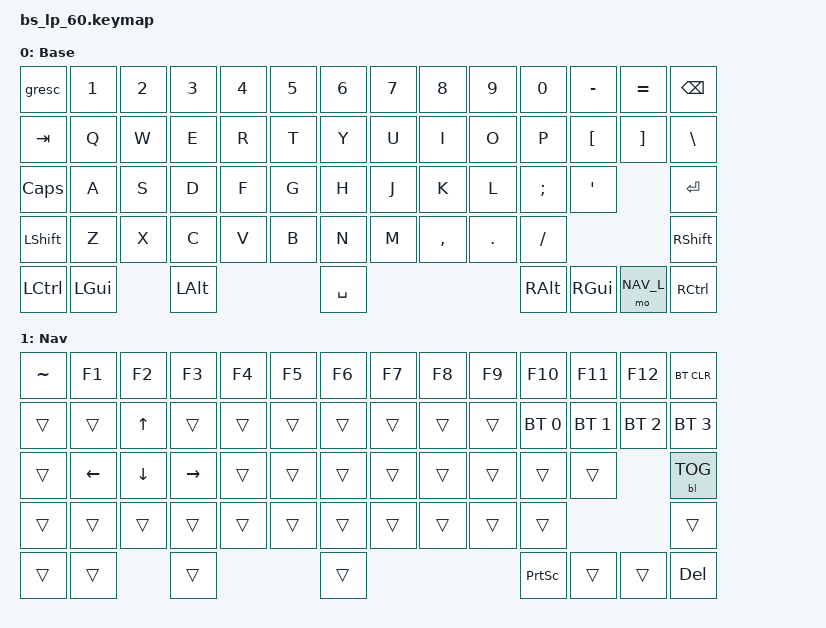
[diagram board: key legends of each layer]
/*
 * Copyright (c) 2021 Cole Smith
 *
 * SPDX-License-Identifier: MIT
 */

#include <dt-bindings/zmk/reset.h>
#include <behaviors.dtsi>
#include <dt-bindings/zmk/backlight.h>
#include <dt-bindings/zmk/bt.h>
#include <dt-bindings/zmk/keys.h>

#define BAS_L 0
#define NAV_L 1

/ {
    keymap {
        compatible = "zmk,keymap";

        default_layer {
            // ------------------------------------------------------------------------------------------
            // | ESC |  1  |  2  |  3  |  4  |  5  |  6  |  7  |  8  |  9  |  0  |  -  |  =  |   BKSP   |
            // | TAB  |  Q  |  W  |  E  |  R  |  T  |  Y  |  U  |  I  |  O  |  P  |  [  |  ]  |   "|"   |
            // | CAPS  |  A  |  S  |  D  |  F  |  G  |  H  |  J  |  K  |  L  |  ;  |  '  |     ENTER    |
            // |  SHIFT  |  Z  |  X  |  C  |  V  |  B  |  N  |  M  |  ,  |  .  |  /  |      SHIFT       |
            // |  CTL  |  WIN  |  ALT  |            SPACE              |  ALT  |  WIN  |  MO(1) |  CTL  |
            // ------------------------------------------------------------------------------------------

            label = "Base";
            bindings = <
&gresc     &kp N1    &kp N2  &kp N3    &kp N4  &kp N5  &kp N6     &kp N7  &kp N8     &kp N9   &kp N0    &kp MINUS  &kp EQUAL  &kp BSPC
&kp TAB    &kp Q     &kp W   &kp E     &kp R   &kp T   &kp Y      &kp U   &kp I      &kp O    &kp P     &kp LBKT   &kp RBKT   &kp BSLH
&kp CLCK   &kp A     &kp S   &kp D     &kp F   &kp G   &kp H      &kp J   &kp K      &kp L    &kp SEMI  &kp SQT               &kp RET
&kp LSHFT  &kp Z     &kp X   &kp C     &kp V   &kp B   &kp N      &kp M   &kp COMMA  &kp DOT  &kp FSLH                        &kp RSHFT
&kp LCTRL  &kp LGUI          &kp LALT                  &kp SPACE                              &kp RALT  &kp RGUI   &mo NAV_L  &kp RCTRL
            >;
        };

        ble_layer {
            // ------------------------------------------------------------------------------------------------
            // | BT CLR | F1  | F2  | F3  | F4  | F5  | F6  | F7  | F8  | F9  | F10  | F11 | F12 |            |
            // |  BT 1   |   |  UP |   |       |       |       |       |   |     |    |     |     |           |
            // |   BT 2   | LT |  DN  | RT |       |       |       |       |   |     |   |     |              |
            // |    BT 3     |     |      |      |     |     |     |     |     |     |     |                  |
            // |   BT 4  |      |      |                                    | PRT SCR |       |       |  DEL  |
            // ------------------------------------------------------------------------------------------------

            label = "Nav";
            bindings = <
&kp TILDE  &kp F1    &kp F2    &kp F3     &kp F4  &kp F5  &kp F6  &kp F7  &kp F8  &kp F9  &kp F10       &kp F11       &kp F12       &bt BT_CLR
&trans     &trans    &kp UP    &trans     &trans  &trans  &trans  &trans  &trans  &trans  &bt BT_SEL 0  &bt BT_SEL 1  &bt BT_SEL 2  &bt BT_SEL 3
&trans     &kp LEFT  &kp DOWN  &kp RIGHT  &trans  &trans  &trans  &trans  &trans  &trans  &trans        &trans                      &bl BL_TOG
&trans     &trans    &trans    &trans     &trans  &trans  &trans  &trans  &trans  &trans  &trans                                    &trans
&trans     &trans              &trans                     &trans                          &kp PSCRN     &trans        &trans        &kp DEL
            >;
        };
    };
};
